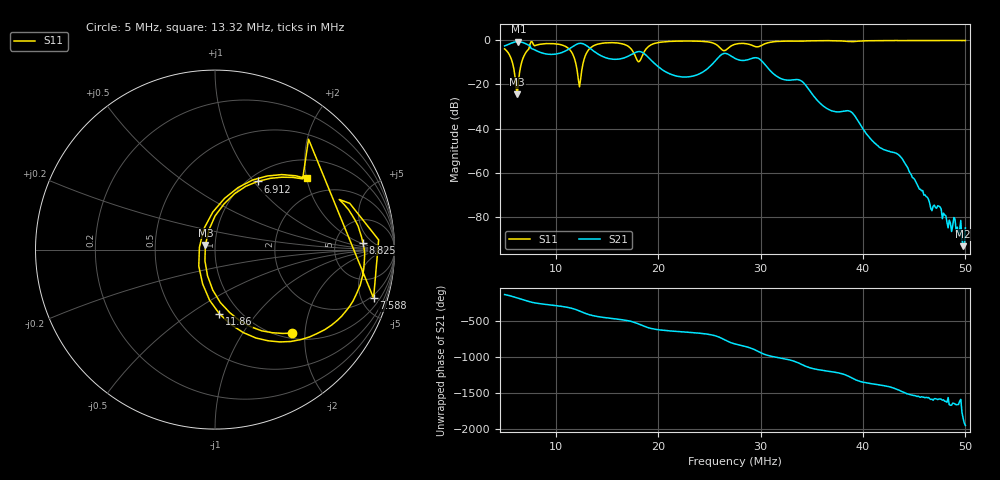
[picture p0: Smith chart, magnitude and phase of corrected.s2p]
! S11/S21 only; reverse parameters are placeholders. Device calibration unverified.
! [Saver CAL applied] C:\Users\aknya\MyProjects\rf-simulator\calibration2.cal | Ideal standards assumed | Input: NanoVNA F V2 profile | COM3 | 2026-09-08T12:01:30.9638011-04:00 | device calibration unverified
# HZ S RI R 50
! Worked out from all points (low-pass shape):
!   401 points, 5 MHz to 50 MHz, reference 50 ohm
!   highest |S21| = -0.69 dB at 6.35 MHz (marker M1); lowest = -93.2 dB at 49.77 MHz (marker M2)
!   |S21| within 3 dB of the highest: start of sweep to 7.587 MHz; 11.4 MHz to 13.35 MHz (1.944 MHz wide, 15.7 % of centre)
!   lowest |S11| = -24.5 dB at 6.237 MHz (marker M3), VSWR 1.13, Z = 44.9 + j2.32 ohm
!   |S11| at or under -10 dB: 5.75 MHz to 6.668 MHz (917.8 kHz wide, 14.8 % of centre); 11.92 MHz to 12.69 MHz (767.3 kHz wide, 6.23 % of centre)
!   S12 and S22 are empty: the file has one direction only
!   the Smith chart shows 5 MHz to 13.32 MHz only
!   S11 on the Smith chart (normalised r, x): 5 MHz: 1.11, -1.72; 6.912 MHz: 1.10, +1.05; 7.588 MHz: 1.69, -6.24; 8.825 MHz: 10, +2; 11.86 MHz: 0.81, -0.66; 13.32 MHz: 1.47, +2.01
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5000000  0.4302 -0.4653  -0.498 -0.5458  0 0  0 0
6237500  -0.0536 0.0257  -0.9204 0.0206  0 0  0 0
6350000  -0.0331 0.1113  -0.9195 0.0911  0 0  0 0
6912500  0.2374 0.3798  -0.7335 0.4471  0 0  0 0
7587500  0.8835 -0.2704  -0.3626 0.5437  0 0  0 0
8825000  0.8239 0.0385  -0.0309 0.4987  0 0  0 0
1.18625e7  0.025 -0.3582  0.7018 0.3059  0 0  0 0
1.25375e7  -0.0123 0.2092  0.8144 -0.2086  0 0  0 0
1.3325e7  0.5137 0.3963  0.3805 -0.5396  0 0  0 0
1.59125e7  0.7864 -0.3608  -0.1411 -0.3408  0 0  0 0
1.72625e7  0.2011 -0.6347  -0.3658 -0.2712  0 0  0 0
1.805e7  -0.3234 -0.0319  -0.55 -0.00262  0 0  0 0
1.88375e7  0.2531 0.5898  -0.3172 0.3213  0 0  0 0
2.0075e7  0.8349 0.2988  -0.0294 0.2418  0 0  0 0
2.615e7  0.4978 -0.3898  0.4436 -0.1412  0 0  0 0
2.75e7  0.754 -0.2822  -0.0653 -0.3807  0 0  0 0
3.02e7  0.7248 -0.2907  -0.1902 0.2598  0 0  0 0
3.50375e7  0.7001 -0.665  0.0103 -0.0594  0 0  0 0
4.2575e7  0.4416 -0.8717  0.00279 0.00127  0 0  0 0
4.67375e7  0.2816 -0.9392  -0.000118 -7.46e-05  0 0  0 0
4.9775e7  0.1654 -0.9663  1.37e-05 -1.72e-05  0 0  0 0
5e7  0.1567 -0.9677  -5.1e-05 -2.52e-05  0 0  0 0
